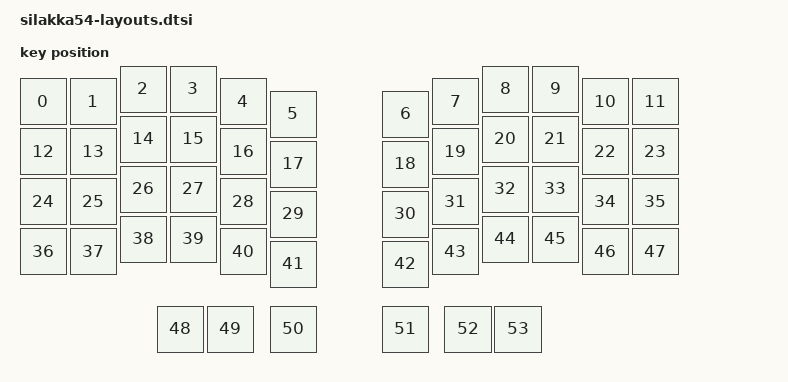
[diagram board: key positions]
#include <physical_layouts.dtsi>

/ {
    silakka54_layout: silakka54_layout {
        compatible = "zmk,physical-layout";
        display-name = "Silakka54";

        // Approximated from the Vial layout: 4x6 grid with column stagger
        // plus three thumb keys per half.
        keys  //                     w   h    x    y  rot rx ry
            = <&key_physical_attrs 100 100    0   25 0 0 0>
            , <&key_physical_attrs 100 100  100   25 0 0 0>
            , <&key_physical_attrs 100 100  200    0 0 0 0>
            , <&key_physical_attrs 100 100  300    0 0 0 0>
            , <&key_physical_attrs 100 100  400   25 0 0 0>
            , <&key_physical_attrs 100 100  500   50 0 0 0>
            , <&key_physical_attrs 100 100  725   50 0 0 0>
            , <&key_physical_attrs 100 100  825   25 0 0 0>
            , <&key_physical_attrs 100 100  925    0 0 0 0>
            , <&key_physical_attrs 100 100 1025    0 0 0 0>
            , <&key_physical_attrs 100 100 1125   25 0 0 0>
            , <&key_physical_attrs 100 100 1225   25 0 0 0>
            , <&key_physical_attrs 100 100    0  125 0 0 0>
            , <&key_physical_attrs 100 100  100  125 0 0 0>
            , <&key_physical_attrs 100 100  200  100 0 0 0>
            , <&key_physical_attrs 100 100  300  100 0 0 0>
            , <&key_physical_attrs 100 100  400  125 0 0 0>
            , <&key_physical_attrs 100 100  500  150 0 0 0>
            , <&key_physical_attrs 100 100  725  150 0 0 0>
            , <&key_physical_attrs 100 100  825  125 0 0 0>
            , <&key_physical_attrs 100 100  925  100 0 0 0>
            , <&key_physical_attrs 100 100 1025  100 0 0 0>
            , <&key_physical_attrs 100 100 1125  125 0 0 0>
            , <&key_physical_attrs 100 100 1225  125 0 0 0>
            , <&key_physical_attrs 100 100    0  225 0 0 0>
            , <&key_physical_attrs 100 100  100  225 0 0 0>
            , <&key_physical_attrs 100 100  200  200 0 0 0>
            , <&key_physical_attrs 100 100  300  200 0 0 0>
            , <&key_physical_attrs 100 100  400  225 0 0 0>
            , <&key_physical_attrs 100 100  500  250 0 0 0>
            , <&key_physical_attrs 100 100  725  250 0 0 0>
            , <&key_physical_attrs 100 100  825  225 0 0 0>
            , <&key_physical_attrs 100 100  925  200 0 0 0>
            , <&key_physical_attrs 100 100 1025  200 0 0 0>
            , <&key_physical_attrs 100 100 1125  225 0 0 0>
            , <&key_physical_attrs 100 100 1225  225 0 0 0>
            , <&key_physical_attrs 100 100    0  325 0 0 0>
            , <&key_physical_attrs 100 100  100  325 0 0 0>
            , <&key_physical_attrs 100 100  200  300 0 0 0>
            , <&key_physical_attrs 100 100  300  300 0 0 0>
            , <&key_physical_attrs 100 100  400  325 0 0 0>
            , <&key_physical_attrs 100 100  500  350 0 0 0>
            , <&key_physical_attrs 100 100  725  350 0 0 0>
            , <&key_physical_attrs 100 100  825  325 0 0 0>
            , <&key_physical_attrs 100 100  925  300 0 0 0>
            , <&key_physical_attrs 100 100 1025  300 0 0 0>
            , <&key_physical_attrs 100 100 1125  325 0 0 0>
            , <&key_physical_attrs 100 100 1225  325 0 0 0>
            , <&key_physical_attrs 100 100  275  480 0 0 0>
            , <&key_physical_attrs 100 100  375  480 0 0 0>
            , <&key_physical_attrs 100 100  500  480 0 0 0>
            , <&key_physical_attrs 100 100  725  480 0 0 0>
            , <&key_physical_attrs 100 100  850  480 0 0 0>
            , <&key_physical_attrs 100 100  950  480 0 0 0>
            ;
    };
};
